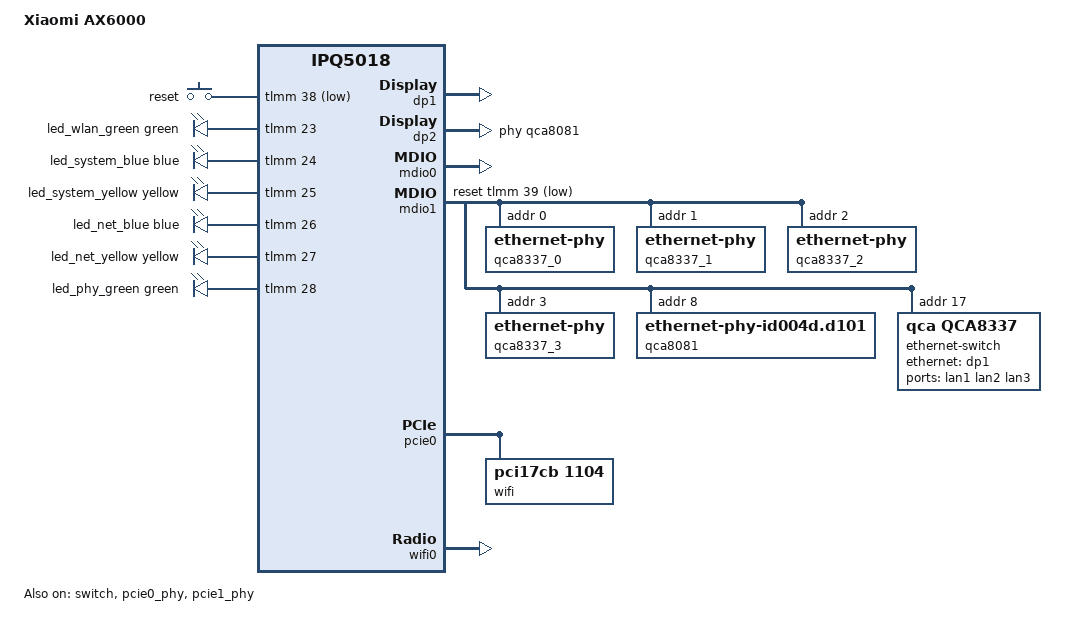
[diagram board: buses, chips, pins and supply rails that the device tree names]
/dts-v1/;

#include "ipq5018.dtsi"
#include "ipq5018-xiaomi-base.dtsi"

/ {
	model = "Xiaomi AX6000";
	compatible = "xiaomi,ax6000", "qcom,ipq5018";

	aliases {
		label-mac-device = &dp1;
		led-boot = &led_system_blue;
		led-failsafe = &led_system_yellow;
		led-running = &led_system_blue;
		led-upgrade = &led_system_yellow;
	};

	keys {
		compatible = "gpio-keys";

		pinctrl-0 = <&button_pins>;
		pinctrl-names = "default";

		reset-button {
			label = "reset";
			gpios = <&tlmm 38 GPIO_ACTIVE_LOW>;
			linux,code = <KEY_RESTART>;
		};
	};

	leds {
		compatible = "gpio-leds";

		pinctrl-0 = <&leds_pins>;
		pinctrl-names = "default";

		led_wlan_green: wlan-green {
			color = <LED_COLOR_ID_GREEN>;
			function = LED_FUNCTION_WLAN;
			gpios = <&tlmm 23 GPIO_ACTIVE_HIGH>;
		};

		led_system_blue: system-blue {
			color = <LED_COLOR_ID_BLUE>;
			function = LED_FUNCTION_POWER;
			gpios = <&tlmm 24 GPIO_ACTIVE_HIGH>;
		};

		led_system_yellow: system-yellow {
			color = <LED_COLOR_ID_YELLOW>;
			function = LED_FUNCTION_POWER;
			gpios = <&tlmm 25 GPIO_ACTIVE_HIGH>;
		};

		led_net_blue: net-blue {
			color = <LED_COLOR_ID_BLUE>;
			function = LED_FUNCTION_WAN_ONLINE;
			gpios = <&tlmm 26 GPIO_ACTIVE_HIGH>;
		};

		led_net_yellow: net-yellow {
			color = <LED_COLOR_ID_YELLOW>;
			function = LED_FUNCTION_WAN;
			gpios = <&tlmm 27 GPIO_ACTIVE_HIGH>;
		};

		led_phy_green: phy-green {
			color = <LED_COLOR_ID_GREEN>;
			function = LED_FUNCTION_LAN;
			gpios = <&tlmm 28 GPIO_ACTIVE_HIGH>;
		};
	};
};

&art {
	caldata_qca9889: caldata@4d000 {
		reg = <0x4d000 0x844>;
	};
};

/*
* =================================================================
*     _______________________             _______________________
*    |        IPQ5018        |           |        QCA8337        |
*    | +------+   +--------+ |           | +--------+   +------+ |
*    | | MAC0 |---| GE Phy |-+--- MDI ---+ | Phy3   |---| MAC4 | |
*    | +------+   +--------+ |           | +--------+   +------+ |
*    |                       |           |_______________________|
*    |                       |            _______________________
*    |                       |           |        QCA8081        |
*    | +------+   +--------+ |           | +-------------------+ |
*    | | MAC1 |---| Uniphy |-+-- SGMII+--+ |        Phy        | |
*    | +------+   +--------+ |           | +-------------------+ |
*    |_______________________|           |_______________________|
*
* =================================================================
*/

&switch {
	status = "okay";

	switch_mac_mode = <MAC_MODE_SGMII_CHANNEL0>;

	qcom,port_phyinfo {
		// MAC0 -> GE Phy --- MDI --- QCA8337 Switch
		port@0 {
			port_id = <1>;
			mdiobus = <&mdio0>;
			phy_address = <7>;
			phy_dac = <0x10 0x10>;
		};

		// MAC1 -> Uniphy --- SGMII --- QCA8081
		port@1 {
			port_id = <2>;
			mdiobus = <&mdio1>;
			phy_address = <8>;
			port_mac_sel = "QGMAC_PORT";
		};
	};
};

// MAC0 -> GE Phy
&dp1 {
	status = "okay";

	nvmem-cells = <&mac_addr_dp1 0>;
	nvmem-cell-names = "mac-address";
};

// MAC1 ---SGMII---> QCA8081
&dp2 {
	status = "okay";

	label = "wan";
	phy-handle = <&qca8081>;
	nvmem-cells = <&mac_addr_dp2 0>;
	nvmem-cell-names = "mac-address";
};

&mdio0 {
	status = "okay";
};

// IPQ5018 GE Phy -> QCA8337 PHY0
&ge_phy {
	qcom,dac-preset-short-cable;
};

&mdio1 {
	status = "okay";

	pinctrl-0 = <&mdio1_pins>;
	pinctrl-names = "default";
	reset-gpios = <&tlmm 39 GPIO_ACTIVE_LOW>;

	// QCA8337 Phy0 -> LAN1
	qca8337_0: ethernet-phy@0 {
		reg = <0>;
	};

	// QCA8337 Phy1 -> LAN2
	qca8337_1: ethernet-phy@1 {
		reg = <1>;
	};

	// QCA8337 Phy2 -> LAN3
	qca8337_2: ethernet-phy@2 {
		reg = <2>;
	};

	// QCA8337 Phy3 -> IPQ5018 GE Phy
	qca8337_3: ethernet-phy@3 {
		reg = <3>;
	};

	// QCA8081 Phy -> WAN
	qca8081: ethernet-phy@8 {
		compatible = "ethernet-phy-id004d.d101";
		reg = <8>;

		leds {
			#address-cells = <1>;
			#size-cells = <0>;

			led@0 {
				reg = <0>;
				color = <LED_COLOR_ID_GREEN>;
				function = LED_FUNCTION_WAN;
				default-state = "keep";
			};
		};
	};

	// QCA8337 switch
	ethernet-switch@11 {
		compatible = "qca,qca8337";
		reg = <17>;

		ports {
			port@1 {
				reg = <1>;
				label = "lan1";
				phy-handle = <&qca8337_0>;

				leds {
					#address-cells = <1>;
					#size-cells = <0>;

					led@0 {
						reg = <0>;
						color = <LED_COLOR_ID_GREEN>;
						function = LED_FUNCTION_LAN;
						default-state = "keep";
					};
				};
			};

			port@2 {
				reg = <2>;
				label = "lan2";
				phy-handle = <&qca8337_1>;

				leds {
					#address-cells = <1>;
					#size-cells = <0>;

					led@0 {
						reg = <0>;
						color = <LED_COLOR_ID_GREEN>;
						function = LED_FUNCTION_LAN;
						default-state = "keep";
					};
				};
			};

			port@3 {
				reg = <3>;
				label = "lan3";
				phy-handle = <&qca8337_2>;

				leds {
					#address-cells = <1>;
					#size-cells = <0>;

					led@0 {
						reg = <0>;
						color = <LED_COLOR_ID_GREEN>;
						function = LED_FUNCTION_LAN;
						default-state = "keep";
					};
				};
			};

			port@4 {
				reg = <4>;
				phy-handle = <&qca8337_3>;
				phy-mode = "gmii";
				ethernet = <&dp1>;
			};
		};
	};
};

&tlmm {
	button_pins: button-state {
		pins = "gpio38";
		function = "gpio";
		drive-strength = <8>;
		bias-pull-up;
	};

	leds_pins: leds-state {
		pins = "gpio23", "gpio24", "gpio25",
		       "gpio26", "gpio27", "gpio28";
		function = "gpio";
		drive-strength = <8>;
		bias-pull-down;
	};
};

&pcie0_phy {
	status = "okay";
};

&pcie0 {
	status = "okay";

	perst-gpios = <&tlmm 15 GPIO_ACTIVE_LOW>;

	pcie@0 {
		wifi@0,0 {
			status = "okay";

			/* QCN9074: ath11k lacks DT compatible for PCI cards */
			compatible = "pci17cb,1104";
			reg = <0x00010000 0 0 0 0>;

			qcom,ath11k-calibration-variant = "Xiaomi-AX6000";
		};
	};
};

&pcie1_phy {
	status = "okay";
};

&pcie1 {
	/*
	 * although the pcie1 phy probes successfully, the controller is unable
	 * to bring it up. So let's disable it until a solution is found.
	 */
	status = "disabled";

	perst-gpios = <&tlmm 18 GPIO_ACTIVE_LOW>;

	pcie@0 {
		wifi@0,0 {
			status = "okay";

			compatible = "qcom,ath10k";
			reg = <0x00010000 0 0 0 0>;

			qcom,ath10k-calibration-variant = "Xiaomi-AX6000";
			nvmem-cell-names = "calibration";
			nvmem-cells = <&caldata_qca9889>;
		};
	};
};

&wifi0 {
	status = "okay";

	qcom,rproc = <&q6_wcss_pd1>;
	qcom,ath11k-calibration-variant = "Xiaomi-AX6000";
	qcom,ath11k-fw-memory-mode = <1>;
	qcom,bdf-addr = <0x4c400000>;
};
